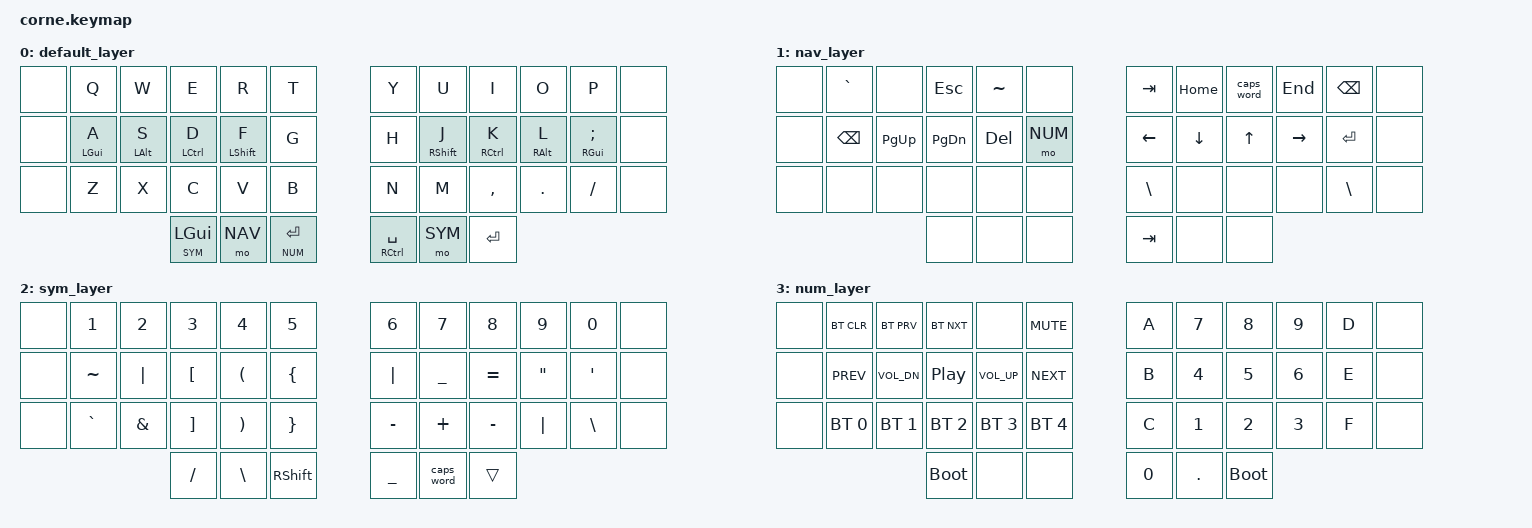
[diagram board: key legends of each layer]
// vim: set ft=c:
/*
 * Copyright (c) 2020 The ZMK Contributors
 *
 * SPDX-License-Identifier: MIT
 */

#include <behaviors.dtsi>
#include <dt-bindings/zmk/keys.h>
#include <dt-bindings/zmk/bt.h>

#define BASE 0
#define NAV  1
#define SYM  2
#define NUM  3

&caps_word {
    continue-list = <UNDERSCORE BSPC>;
};

/{
    behaviors {
        hm: homerow_mods {
            compatible = "zmk,behavior-hold-tap";
            label = "HOMEROW_MODS";
            #binding-cells = <2>;
            tapping-term-ms = <150>; // <---[[produces tap if held longer than tapping-term-ms]]
            quick-tap-ms = <75>;
            flavor = "tap-preferred";
            global-quick-tap;
            bindings = <&kp>, <&kp>;
        };
        phm: positional_homerow_mods {
            compatible = "zmk,behavior-hold-tap";
            label = "LEFT_POSITIONAL_HOMEROW_MODS";
            #binding-cells = <2>;
            tapping-term-ms = <150>; // <---[[produces tap if held longer than tapping-term-ms]]
            quick-tap-ms = <75>;
            flavor = "tap-preferred";
            bindings = <&kp>, <&kp>;
            global-quick-tap;
            hold-trigger-key-positions = <1 2 3 4 5>;
        };
    };

    keymap {
        compatible = "zmk,keymap";

        default_layer {
            // -----------------------------------------------------------------------------------------
            // |  Q  |  W  |  E  |  R  |  T   |   |  Y  |  U   |  I  |  O  |  P  |
            // |  A  |  S  |  D  |  F  |  G   |   |  H  |  J   |  K  |  L  |  ;  |
            // |  Z  |  X  |  C  |  V  |  B   |   |  N  |  M   |  ,  |  .  |  /  |
            //             | GUI | NAV | RET  |   | SPC | SYM  | ALT |
            bindings = <
            // ╭────────┬─────────────┬────────────────┬───────────────┬───────────────┬─────────────╮   ╭─────────────────┬───────────────┬───────────────┬──────────────┬───────────────┬───────────╮
                 &none    &kp Q         &kp W            &kp E           &kp R           &kp T             &kp Y             &kp U           &kp I           &kp O          &kp P           &none    
            // ├────────┬─────────────┬────────────────┬───────────────┬───────────────┬─────────────┤   ├─────────────────┬───────────────┬───────────────┬──────────────┬───────────────┬───────────┤
                 &none    &phm LGUI A   &phm LALT S      &phm LCTRL D    &phm LSHFT F    &kp G             &kp H             &hm RSHFT J     &hm RCTRL K     &hm RALT L     &hm RGUI SEMI   &none    
            // ├────────┬─────────────┬────────────────┬───────────────┬───────────────┬─────────────┤   ├─────────────────┬───────────────┬───────────────┬──────────────┬───────────────┬───────────┤
                 &none    &kp Z         &kp X            &kp C           &kp V           &kp B             &kp N             &kp M           &kp COMMA       &kp DOT        &kp FSLH        &none    
            // ╰────────┴─────────────┴────────────────┬───────────────┬───────────────┬─────────────┤   ├─────────────────┬───────────────┬───────────────┬──────────────┴───────────────┴───────────╯
                                                         &lt SYM LGUI    &mo NAV         &lt NUM RET       &mt RCTRL SPACE   &mo SYM         &kp RET
            //                                         ╰─────────────────────────────────────────────╯   ╰─────────────────────────────────────────────────╯                                           
            >;

        };

        nav_layer {
            // -----------------------------------------------------------------------------------------
            // |  `   |      | ESC  |  ~   |     |   | TAB  | HOME |  UP  | END   | BKSP |
            // | BSPC | PGDN | PGUP | CTRL | NUM |   | LEFT | DOWN |  UP  | RIGHT | ENTR |
            // |      |      |      |      |     |   |  \   |      |      |       |  \   |
            //               |      |      |     |   |      |      |      |
            bindings = <
            // ╭───────┬────────────┬────────────────┬───────────────┬───────────────┬─────────────╮   ╭─────────────────┬───────────────┬───────────────┬──────────────┬───────────────┬───────────╮
                 &none   &kp GRAVE    &none            &kp ESC         &kp TILDE       &none             &kp TAB           &kp HOME        &caps_word      &kp END        &kp BSPC        &none
            // ├───────┬────────────┬────────────────┬───────────────┬───────────────┬─────────────┤   ├─────────────────┬───────────────┬───────────────┬──────────────┬───────────────┬───────────┤
                 &none   &kp BSPC     &kp PG_UP        &kp PG_DN       &kp DEL         &mo NUM           &kp LEFT          &kp DOWN        &kp UP          &kp RIGHT      &kp RET         &none
            // ├───────┬────────────┬────────────────┬───────────────┬───────────────┬─────────────┤   ├─────────────────┬───────────────┬───────────────┬──────────────┬───────────────┬───────────┤
                 &none   &none        &none            &none           &none           &none             &kp BSLH          &none           &none           &none          &kp BSLH        &none
            // ╰───────┴────────────┴────────────────┬───────────────┬───────────────┬─────────────┤   ├─────────────────┬───────────────┬───────────────┬──────────────┴───────────────┴───────────╯
                                                       &none           &none           &none             &kp TAB           &none           &none 
            //                                       ╰─────────────────────────────────────────────╯   ╰─────────────────────────────────────────────────╯                                           
            >;

        };
   
        sym_layer {
            // -----------------------------------------------------------------------------------------
            // | 1/! | 2/@ | 3/# | 4/$ | 5/% |   | 6/^ | 7/& | 8/* | 9/( | 0/) |
            // |  ~  |  |  |  [  |  (  |  {  |   |  |  |  _  |  =  |  "  |  '  |
            // |  `  |  &  |  ]  |  )  |  }  |   |  -  |  +  |  -  |  |  |  \  |
            //             |  /  |  \  |SHFT |   |  _  |     |     |
            bindings = <
            // ╭───────┬─────────────┬────────────────┬───────────────┬───────────────┬─────────────╮   ╭─────────────────┬───────────────┬───────────────┬──────────────┬───────────────┬───────────╮
                 &none   &kp N1        &kp N2           &kp N3          &kp N4          &kp N5            &kp N6            &kp N7          &kp N8          &kp N9         &kp N0          &none
            // ├───────┬─────────────┬────────────────┬───────────────┬───────────────┬─────────────┤   ├─────────────────┬───────────────┬───────────────┬──────────────┬───────────────┬───────────┤
                 &none   &kp TILDE     &kp PIPE         &kp LBKT        &kp LPAR        &kp LBRC          &kp PIPE          &kp UNDER       &kp EQUAL       &kp DQT        &kp SQT         &none
            // ├───────┬─────────────┬────────────────┬───────────────┬───────────────┬─────────────┤   ├─────────────────┬───────────────┬───────────────┬──────────────┬───────────────┬───────────┤
                 &none   &kp GRAVE     &kp AMPS         &kp RBKT        &kp RPAR        &kp RBRC          &kp MINUS         &kp PLUS        &kp MINUS       &kp PIPE       &kp BSLH        &none
            // ╰───────┴─────────────┴────────────────┬───────────────┬───────────────┬─────────────┤   ├─────────────────┬───────────────┬───────────────┬──────────────┴───────────────┴───────────╯
                                                        &kp FSLH        &kp BSLH        &kp RSHFT         &kp UNDER         &caps_word      &trans 
            //                                        ╰─────────────────────────────────────────────╯   ╰─────────────────────────────────────────────────╯                                           
            >;

        };

        // This layer is unreachable until "tri layer state" is sorted out.
        // Leaving it here for completeness.
        num_layer {
            // -----------------------------------------------------------------------------------------
            //  |      |     |     |     |     |   |  A  |  7  |  8  |  9  |  D  |
            //  |      |     |     |     |     |   |  B  |  4  |  5  |  6  |  E  |
            //  |      |     |     |     |     |   |  C  |  1  |  2  |  3  |  F  |
            //               |     |     |     |   |  0  |  .  |     |
            bindings = <
            // ╭───────┬─────────────┬────────────────┬───────────────┬───────────────┬─────────────╮   ╭─────────────────┬───────────────┬───────────────┬──────────────┬───────────────┬───────────╮
                 &none   &bt BT_CLR    &bt BT_PRV       &bt BT_NXT      &none           &kp C_MUTE        &kp A             &kp N7          &kp N8          &kp N9         &kp D           &none
            // ├───────┼─────────────┬────────────────┬───────────────┬───────────────┬─────────────┤   ├─────────────────┬───────────────┬───────────────┬──────────────┬───────────────┬───────────┤
                 &none   &kp C_PREV    &kp C_VOL_DN     &kp C_PP        &kp C_VOL_UP    &kp C_NEXT        &kp B             &kp N4          &kp N5          &kp N6         &kp E           &none
            // ├───────┬─────────────┬────────────────┬───────────────┬───────────────┬─────────────┤   ├─────────────────┬───────────────┬───────────────┬──────────────┬───────────────┬───────────┤
                 &none   &bt BT_SEL 0  &bt BT_SEL 1     &bt BT_SEL 2    &bt BT_SEL 3    &bt BT_SEL 4      &kp C             &kp N1          &kp N2          &kp N3         &kp F           &none
            // ╰───────┴─────────────┴────────────────┬───────────────┬───────────────┬─────────────┤   ├─────────────────┬───────────────┬───────────────┬──────────────┴───────────────┴───────────╯
                                                        &bootloader     &none           &none             &kp N0            &kp DOT         &bootloader
            //                                        ╰─────────────────────────────────────────────╯   ╰─────────────────────────────────────────────────╯                                           
            >;

        };
    };
};
